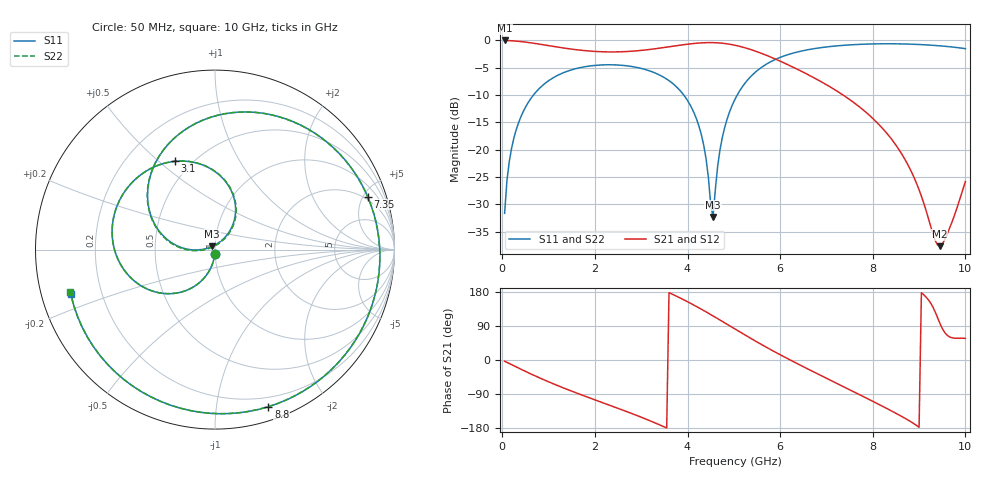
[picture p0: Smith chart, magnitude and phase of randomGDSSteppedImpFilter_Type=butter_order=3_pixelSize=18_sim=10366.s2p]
! freq	dB(S11)	phase(S11)	dB(S12)	phase(S12)
!  dB(S21)	phase(S21)	dB(S22)	phase(S22)
!S-par simulation data
#  GHz  S  DB  R 50
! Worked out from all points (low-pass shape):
!   200 points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, 50 MHz to 10 GHz, reference 50 ohm
!   highest |S21| = -0.01 dB at 50 MHz (marker M1); lowest = -37.7 dB at 9.45 GHz (marker M2)
!   |S21| within 3 dB of the highest: start of sweep to 5.785 GHz
!   lowest |S11| = -32.3 dB at 4.55 GHz (marker M3), VSWR 1.05, Z = 48.4 + j1.75 ohm
!   |S11| at or under -10 dB: start of sweep to 673.7 MHz; 3.918 GHz to 5.074 GHz (1.156 GHz wide, 25.7 % of centre)
!   |S22| runs from -33.7 to -0.6 dB; largest |S21 - S12| = 0
!   S11 on the Smith chart (normalised r, x): 50 MHz: 1.00, -0.05; 3.1 GHz: 0.41, +0.57; 7.35 GHz: 1.73, +5.40; 8.8 GHz: 0.12, -1.39; 10 GHz: 0.09, -0.15
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0.05  -31.66 -93.1  -0.01 -3.1  -0.01 -3.1  -31.66 -93.1
0.1  -25.68 -96.4  -0.02 -6.2  -0.02 -6.2  -25.68 -96.4
0.2  -19.77 -102.6  -0.06 -12.3  -0.06 -12.3  -19.77 -102.6
0.5  -12.24 -120.5  -0.31 -30.1  -0.31 -30.1  -12.24 -120.6
1.05  -7.10 -150.7  -1.02 -60.2  -1.02 -60.2  -7.10 -150.7
1.75  -4.87 175.7  -1.85 -93.9  -1.85 -93.9  -4.87 175.6
3.1  -5.36 114.3  -1.74 -155.8  -1.74 -155.8  -5.36 114.1
3.4  -6.35 99.3  -1.42 -171.2  -1.42 -171.2  -6.36 99.0
4.2  -14.53 55.9  -0.51 140.8  -0.51 140.8  -14.54 54.7
4.4  -21.67 51.1  -0.41 127.0  -0.41 127.0  -21.77 48.4
4.55  -32.32 131.6  -0.41 116.4  -0.41 116.4  -33.71 134.4
4.7  -20.08 -178.7  -0.48 105.5  -0.48 105.5  -20.16 -176.5
5.05  -10.36 164.5  -0.93 79.8  -0.93 79.8  -10.37 165.2
5.75  -4.11 117.8  -2.89 30.4  -2.89 30.4  -4.12 117.9
6.25  -2.40 85.9  -4.78 -2.1  -4.78 -2.1  -2.40 85.9
6.7  -1.56 58.3  -6.70 -30.0  -6.70 -30.0  -1.56 58.2
7.35  -0.91 19.1  -9.95 -69.4  -9.95 -69.4  -0.91 18.8
7.85  -0.68 -11.2  -13.13 -99.8  -13.13 -99.8  -0.68 -11.6
8.35  -0.61 -42.2  -17.48 -130.9  -17.48 -130.9  -0.62 -42.7
8.8  -0.68 -71.2  -23.46 -161.2  -23.46 -161.2  -0.69 -71.9
9.45  -0.99 -117.0  -37.67 96.5  -37.67 96.5  -1.00 -117.9
10  -1.51 -162.9  -25.84 57.1  -25.84 57.1  -1.51 -163.8
